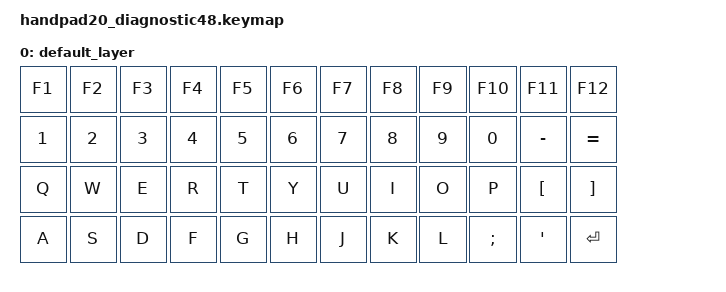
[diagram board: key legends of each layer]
#include <behaviors.dtsi>
#include <dt-bindings/zmk/keys.h>

/ {
    keymap {
        compatible = "zmk,keymap";

        default_layer {
            bindings = <
                &kp F1  &kp F2  &kp F3  &kp F4  &kp F5  &kp F6  &kp F7  &kp F8  &kp F9  &kp F10  &kp F11  &kp F12
                &kp N1  &kp N2  &kp N3  &kp N4  &kp N5  &kp N6  &kp N7  &kp N8  &kp N9  &kp N0   &kp MINUS &kp EQUAL
                &kp Q   &kp W   &kp E   &kp R   &kp T   &kp Y   &kp U   &kp I   &kp O   &kp P    &kp LBKT  &kp RBKT
                &kp A   &kp S   &kp D   &kp F   &kp G   &kp H   &kp J   &kp K   &kp L   &kp SEMI &kp SQT   &kp ENTER
            >;
        };
    };
};
